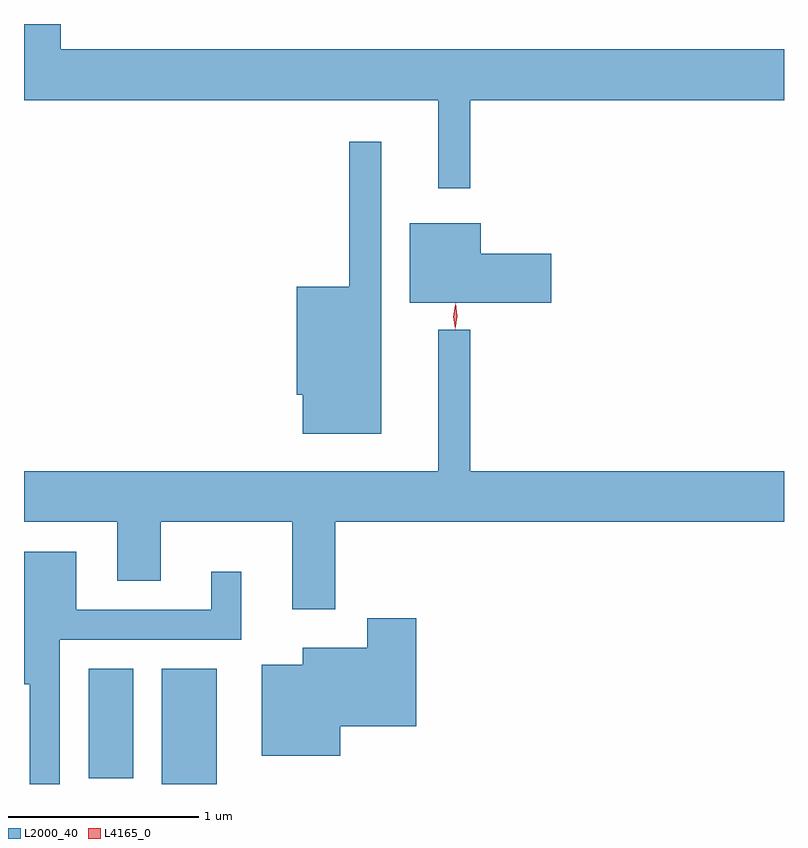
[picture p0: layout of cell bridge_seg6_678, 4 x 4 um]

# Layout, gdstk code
import gdstk
lib = gdstk.Library(unit=1e-6, precision=1e-09)
def R(c, l, rs):  # rectangles x0, y0, x1, y1
    for r in rs: c.add(gdstk.rectangle(r[:2], r[2:], *l))
def P(c, l, *ps):  # polygons
    for p in ps: c.add(gdstk.Polygon(p, *l))
L2000_40 = (2000, 40)
L4165_0 = (4165, 0)

bridge_seg6_678 = lib.new_cell('bridge_seg6_678')
R(bridge_seg6_678, L2000_40, [(383.646,1570.857,383.934,1571.464), (383.261,1570.886,383.494,1571.464)])
P(bridge_seg6_678, L2000_40, [(385.269,1574.456),(386.92,1574.456),(386.92,1574.724),(383.114,1574.724),(383.114,1574.857),(382.92,1574.857),(382.92,1574.456),(385.101,1574.456),(385.101,1573.993),(385.269,1573.993)],
  [(384.799,1574.238),(384.631,1574.238),(384.631,1573.474),(384.356,1573.474),(384.356,1572.906),(384.386,1572.906),(384.386,1572.701),(384.799,1572.701)],
  [(385.694,1573.649),(385.324,1573.649),(385.324,1573.809),(384.951,1573.809),(384.951,1573.391),(385.694,1573.391)],
  [(384.559,1572.236),(386.92,1572.236),(386.92,1572.504),(385.269,1572.504),(385.269,1573.248),(385.101,1573.248),(385.101,1572.504),(382.92,1572.504),(382.92,1572.236),(383.411,1572.236),(383.411,1571.926),(383.639,1571.926),(383.639,1572.236),(384.331,1572.236),(384.331,1571.776),(384.559,1571.776)],
  [(383.109,1571.616),(384.064,1571.616),(384.064,1571.973),(383.906,1571.973),(383.906,1571.774),(383.194,1571.774),(383.194,1572.079),(382.92,1572.079),(382.92,1571.381),(382.951,1571.381),(382.951,1570.857),(383.109,1570.857)],
  [(384.584,1571.161),(384.984,1571.161),(384.984,1571.729),(384.726,1571.729),(384.726,1571.574),(384.386,1571.574),(384.386,1571.484),(384.171,1571.484),(384.171,1571.006),(384.584,1571.006)])
P(bridge_seg6_678, L4165_0, [(385.19,1573.25),(385.19,1573.25),(385.181,1573.318),(385.192,1573.386),(385.192,1573.386),(385.192,1573.386),(385.201,1573.318),(385.191,1573.25)],
  [(385.19,1573.253),(385.19,1573.253),(385.18,1573.316),(385.19,1573.379),(385.19,1573.38),(385.191,1573.379),(385.2,1573.316),(385.191,1573.253)])

lib.write_gds('bridge_seg6_678.gds')
